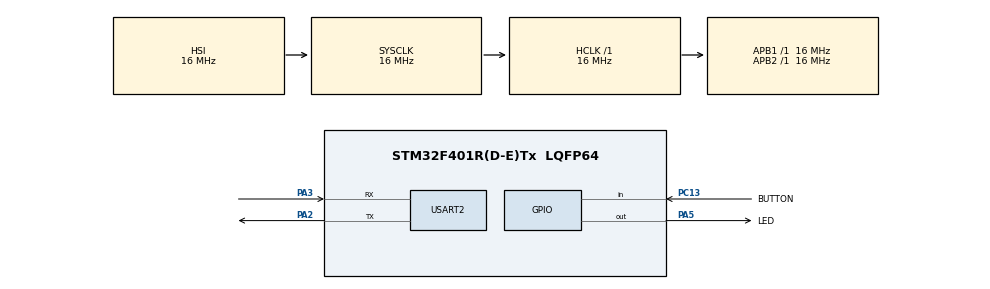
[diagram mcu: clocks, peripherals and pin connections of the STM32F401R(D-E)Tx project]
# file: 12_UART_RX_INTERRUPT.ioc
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Mcu.Family=STM32F4
Mcu.Name=STM32F401R(D-E)Tx
Mcu.Package=LQFP64
NVIC.PriorityGroup=NVIC_PRIORITYGROUP_4
NVIC.USART2_IRQn=true\:0\:0\:false\:false\:true\:true\:true\:true
PA13.Mode=Serial_Wire
PA13.Signal=SYS_JTMS-SWDIO
PA14.Mode=Serial_Wire
PA14.Signal=SYS_JTCK-SWCLK
PA2.Mode=Asynchronous
PA2.Signal=USART2_TX
PA3.Mode=Asynchronous
PA3.Signal=USART2_RX
PA5.GPIO_Label=LED
PA5.Signal=GPIO_Output
PC13-ANTI_TAMP.GPIO_Label=BUTTON
PC13-ANTI_TAMP.Signal=GPIO_Input
ProjectManager.HeapSize=0x200
ProjectManager.StackSize=0x400
ProjectManager.TargetToolchain=STM32CubeIDE
RCC.AHBFreq_Value=16000000
RCC.APB1Freq_Value=16000000
RCC.APB2Freq_Value=16000000
RCC.CortexFreq_Value=16000000
RCC.HSE_VALUE=25000000
RCC.HSI_VALUE=16000000
RCC.LSE_VALUE=32768
RCC.SYSCLKFreq_VALUE=16000000
RCC.VCOOutputFreq_Value=192000000
USART2.VirtualMode=VM_ASYNC
board=custom

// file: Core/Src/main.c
/* USER CODE BEGIN Header */
/**
  ******************************************************************************
  * @file           : main.c
  * @brief          : Main program body
  ******************************************************************************
  * @attention
  *
  * Copyright (c) 2023 STMicroelectronics.
  * All rights reserved.
  *
  * This software is licensed under terms that can be found in the LICENSE file
  * in the root directory of this software component.
  * If no LICENSE file comes with this software, it is provided AS-IS.
  *
  ******************************************************************************
  */
/* USER CODE END Header */
#include "main.h"

/* USER CODE BEGIN Includes */
#include <string.h>
/* USER CODE END Includes */

UART_HandleTypeDef huart2;

/* USER CODE BEGIN PV */
uint8_t dato[50]="Dato enviado mediante usart2 STM32\n\r";
uint8_t dato2[50]="Se detecto un caracter\n\r";
volatile uint8_t rx=0;
/* USER CODE END PV */

void SystemClock_Config(void);
static void MX_GPIO_Init(void);
static void MX_USART2_UART_Init(void);

int main(void)
{

  /* MCU Configuration--------------------------------------------------------*/

  /* Reset of all peripherals, Initializes the Flash interface and the Systick. */
  HAL_Init();

  /* Configure the system clock */
  SystemClock_Config();

  /* Initialize all configured peripherals */
  MX_GPIO_Init();
  MX_USART2_UART_Init();
  /* USER CODE BEGIN 2 */
  HAL_UART_Receive_IT(&huart2, &rx, sizeof(rx));

  /* USER CODE END 2 */

  /* Infinite loop */
  /* USER CODE BEGIN WHILE */
  while (1)
  {

	  HAL_UART_Transmit(&huart2,(const uint8_t *)dato, (int16_t)strlen(dato), HAL_MAX_DELAY);
	  HAL_Delay(400);
	  /* USER CODE END WHILE */

  }
}

void SystemClock_Config(void)
{
  RCC_OscInitTypeDef RCC_OscInitStruct = {0};
  RCC_ClkInitTypeDef RCC_ClkInitStruct = {0};

  /** Configure the main internal regulator output voltage
  */
  __HAL_RCC_PWR_CLK_ENABLE();
  __HAL_PWR_VOLTAGESCALING_CONFIG(PWR_REGULATOR_VOLTAGE_SCALE2);

  /** Initializes the RCC Oscillators according to the specified parameters
  * in the RCC_OscInitTypeDef structure.
  */
  RCC_OscInitStruct.OscillatorType = RCC_OSCILLATORTYPE_HSI;
  RCC_OscInitStruct.HSIState = RCC_HSI_ON;
  RCC_OscInitStruct.HSICalibrationValue = RCC_HSICALIBRATION_DEFAULT;
  RCC_OscInitStruct.PLL.PLLState = RCC_PLL_NONE;
  if (HAL_RCC_OscConfig(&RCC_OscInitStruct) != HAL_OK)
  {
    Error_Handler();
  }

  /** Initializes the CPU, AHB and APB buses clocks
  */
  RCC_ClkInitStruct.ClockType = RCC_CLOCKTYPE_HCLK|RCC_CLOCKTYPE_SYSCLK
                              |RCC_CLOCKTYPE_PCLK1|RCC_CLOCKTYPE_PCLK2;
  RCC_ClkInitStruct.SYSCLKSource = RCC_SYSCLKSOURCE_HSI;
  RCC_ClkInitStruct.AHBCLKDivider = RCC_SYSCLK_DIV1;
  RCC_ClkInitStruct.APB1CLKDivider = RCC_HCLK_DIV1;
  RCC_ClkInitStruct.APB2CLKDivider = RCC_HCLK_DIV1;

  if (HAL_RCC_ClockConfig(&RCC_ClkInitStruct, FLASH_LATENCY_0) != HAL_OK)
  {
    Error_Handler();
  }
}

static void MX_USART2_UART_Init(void)
{

  huart2.Instance = USART2;
  huart2.Init.BaudRate = 115200;
  huart2.Init.WordLength = UART_WORDLENGTH_8B;
  huart2.Init.StopBits = UART_STOPBITS_1;
  huart2.Init.Parity = UART_PARITY_NONE;
  huart2.Init.Mode = UART_MODE_TX_RX;
  huart2.Init.HwFlowCtl = UART_HWCONTROL_NONE;
  huart2.Init.OverSampling = UART_OVERSAMPLING_16;
  if (HAL_UART_Init(&huart2) != HAL_OK)
  {
    Error_Handler();
  }

}

static void MX_GPIO_Init(void)
{
  GPIO_InitTypeDef GPIO_InitStruct = {0};

  /* GPIO Ports Clock Enable */
  __HAL_RCC_GPIOC_CLK_ENABLE();
  __HAL_RCC_GPIOA_CLK_ENABLE();

  /*Configure GPIO pin Output Level */
  HAL_GPIO_WritePin(LED_GPIO_Port, LED_Pin, GPIO_PIN_RESET);

  /*Configure GPIO pin : BUTTON_Pin */
  GPIO_InitStruct.Pin = BUTTON_Pin;
  GPIO_InitStruct.Mode = GPIO_MODE_INPUT;
  GPIO_InitStruct.Pull = GPIO_NOPULL;
  HAL_GPIO_Init(BUTTON_GPIO_Port, &GPIO_InitStruct);

  /*Configure GPIO pin : LED_Pin */
  GPIO_InitStruct.Pin = LED_Pin;
  GPIO_InitStruct.Mode = GPIO_MODE_OUTPUT_PP;
  GPIO_InitStruct.Pull = GPIO_NOPULL;
  GPIO_InitStruct.Speed = GPIO_SPEED_FREQ_LOW;
  HAL_GPIO_Init(LED_GPIO_Port, &GPIO_InitStruct);

}

/* USER CODE BEGIN 4 */
void HAL_UART_RxCpltCallback(UART_HandleTypeDef *huart){
	switch (rx) {

		case 'A':
			HAL_GPIO_TogglePin(LED_GPIO_Port, LED_Pin);
			HAL_UART_Transmit(&huart2,(const uint8_t *)dato2, strlen((char *)dato2), HAL_MAX_DELAY);
			break;
		default:
			break;
	}
	//HAL_GPIO_WritePin(LED_GPIO_Port, LED_Pin, RESET);
	HAL_UART_Receive_IT(&huart2, &rx, sizeof(rx));
}

/* USER CODE END 4 */

void Error_Handler(void)
{
  __disable_irq();
  while (1)
  {
  }
}
